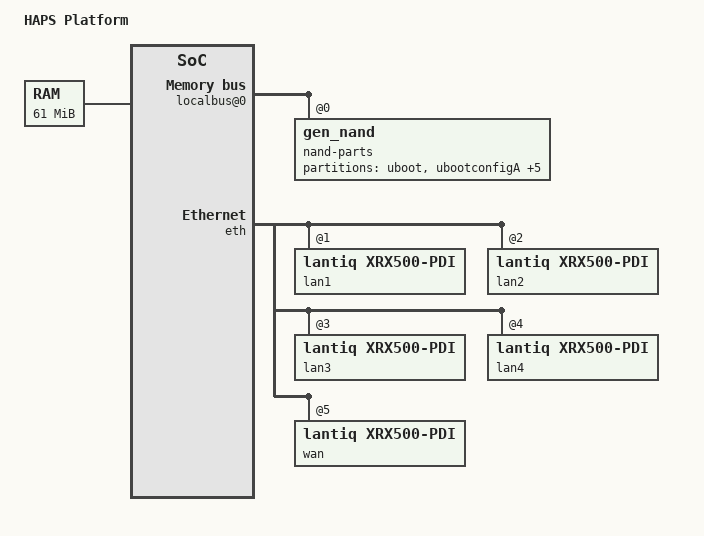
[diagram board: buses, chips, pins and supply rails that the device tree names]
/dts-v1/;

/include/ "HAPS.dtsi"

/ {

	model = "HAPS Platform";

	chosen {
		//bootargs-append = "ubi.mtd=system_sw rootfsname=rootfsA ro rootfstype=squashfs console=ttyLTQ0,9600n8r pci=pcie_bus_perf pcie_force_gen1=on init=/etc/preinit mtdparts=ifx_nand:1024k(uboot),256k(ubootconfigA),256k(ubootconfigB),256k(gphyfirmware),50m(system_sw),1m(calibration),16m(Bootcore),-(res) active_bank=A update_chk=0 loglevel=8 shell";
	};

	memory@0 {
		reg = <0x20000000 0x3D00000>;
	};

	ssx4@16000000 {
			localbus@0 {
			ranges = <0 0 0x1c00000 0xfffff>;
			nand-parts@0 {
				compatible = "gen_nand","lantiq,nand-xway";
				lantiq,cs = <1>;
				bank-width = <2>;
				reg = <0 0x0 0x100000>;
				#address-cells = <1>;
				#size-cells = <1>;

                                partition@0 {
                                        label = "uboot";
                                        reg = <0x000000 0x100000>;
                                };

                                partition@100000 {
                                        label = "ubootconfigA";
                                        reg = <0x100000 0x40000>;
                                };

                                partition@140000 {
                                        label = "ubootconfigB";
                                        reg = <0x140000 0x40000>;
                                };

                                partition@180000 {
                                        label = "gphyfirmware";
                                        reg = <0x180000 0x40000>;
                                };

                                partition@1c0000 {
                                        label = "system_sw";
                                        reg = <0x1c0000 0x3200000>;
                                };

                               partition@33c0000 {
                                        label = "calibration";
                                        reg = <0x33c0000 0x100000>;
                                };

                                partition@34c0000 {
                                        label = "res";
                                        reg = <0x34c0000 0x4B40000>;
                                };
			};
		};
	};
};

&pcie0 {
	status = "disabled";
	reset-gpio = <&gpio0 19 0>;
	lantiq,rst-high-active = <0>; /* 0 - low activ, 1 -- high active */
	lantiq,rst-interval = <200>; /* in mili-seconds, up to 500 ms*/
	lantiq,inbound-swap = <0>; /* 0 -- no swap, 1 -- swap */
	lantiq,outbound-swap = <0>; /* 0 -- no swap, 1 -- swap */
	lantiq,phy-mode = <0>; /* 0 -36Mhz, 1 - 36MHzSSC, 2 - 25Mhz, 3 - 25MHzSSC, 4 - 100MHz */
};

&pcie1 {
	status = "disabled";
	reset-gpio = <&gpio0 21 0>;
	lantiq,rst-high-active = <0>; /* 0 - low activ, 1 -- high active */
	lantiq,rst-interval = <200>; /* in mili-seconds, up to 500 ms*/
	lantiq,inbound-swap = <0>; /* 0 -- no swap, 1 -- swap */
	lantiq,outbound-swap = <0>; /* 0 -- no swap, 1 -- swap */
	lantiq,phy-mode = <0>; /* 0 -36Mhz, 1 - 36MHzSSC, 2 - 25Mhz, 3 - 25MHzSSC, 4 - 100MHz */
};

&pcie2 {
	status = "disabled";
	reset-gpio = <&gpio0 22 0>;
	lantiq,rst-high-active = <0>; /* 0 - low activ, 1 -- high active */
	lantiq,rst-interval = <200>; /* in mili-seconds, up to 500 ms*/
	lantiq,inbound-swap = <1>; /* 0 -- no swap, 1 -- swap */
	lantiq,outbound-swap = <0>; /* 0 -- no swap, 1 -- swap */
	lantiq,phy-mode = <0>; /* 0 -36Mhz, 1 - 36MHzSSC, 2 - 25Mhz, 3 - 25MHzSSC, 4 - 100MHz */
};

&eth {
	status = "ok";

	lan1: interface@1 {
		compatible = "lantiq,xrx500-pdi";
		#address-cells = <1>;
		#size-cells = <0>;
		reg = <1>;

		ethernet@1 {
			compatible = "lantiq,xrx500-pdi-port";
			reg = <2>;
		};
	};

	lan2: interface@2 {
		compatible = "lantiq,xrx500-pdi";
		#address-cells = <1>;
		#size-cells = <0>;
		reg = <2>;

		ethernet@2 {
			compatible = "lantiq,xrx500-pdi-port";
			reg = <3>;
		};
	};

	lan3: interface@3 {
		compatible = "lantiq,xrx500-pdi";
		#address-cells = <1>;
		#size-cells = <0>;
		reg = <3>;

		ethernet@3 {
			compatible = "lantiq,xrx500-pdi-port";
			reg = <4>;
		};
	};

	lan4: interface@4 {
		compatible = "lantiq,xrx500-pdi";
		#address-cells = <1>;
		#size-cells = <0>;
		reg = <4>;

		ethernet@4 {
			compatible = "lantiq,xrx500-pdi-port";
			reg = <5>;
		};
	};

	wan: interface@5 {
		compatible = "lantiq,xrx500-pdi";
		#address-cells = <1>;
		#size-cells = <0>;
		reg = <5>;
		lantiq,wan;

		ethernet@5 {
			compatible = "lantiq,xrx500-pdi-port";
			reg = <1>;
		};
	};
};
